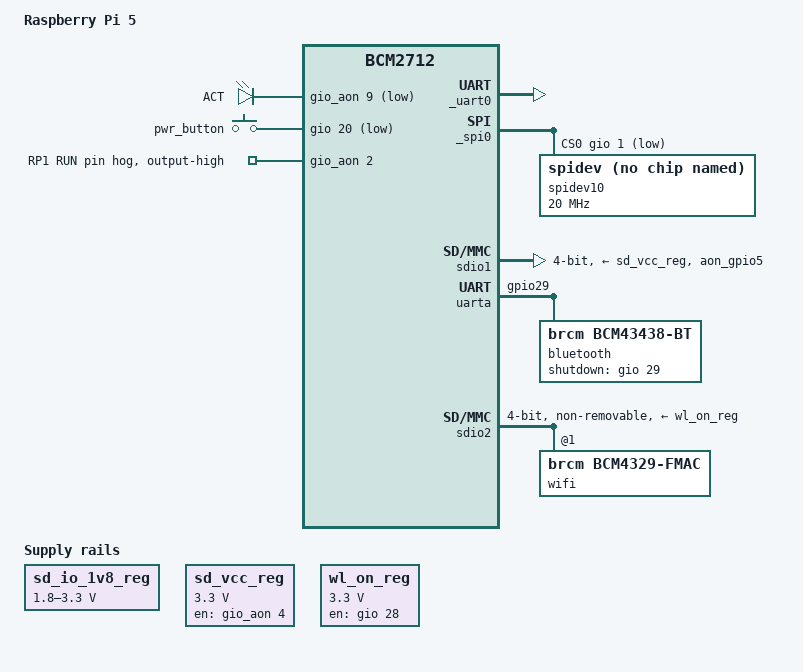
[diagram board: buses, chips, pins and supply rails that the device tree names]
// SPDX-License-Identifier: GPL-2.0
/dts-v1/;

#include <dt-bindings/gpio/gpio.h>
#include <dt-bindings/interrupt-controller/irq.h>
#include <dt-bindings/pwm/pwm.h>
#include <dt-bindings/reset/raspberrypi,firmware-reset.h>

#define i2c0 _i2c0
#define i2c3 _i2c3
#define i2c4 _i2c4
#define i2c5 _i2c5
#define i2c6 _i2c6
#define i2c8 _i2c8
#define i2s _i2s
#define pwm0 _pwm0
#define pwm1 _pwm1
#define spi0 _spi0
#define spi3 _spi3
#define spi4 _spi4
#define spi5 _spi5
#define spi6 _spi6
#define uart0 _uart0
#define uart2 _uart2
#define uart3 _uart3
#define uart4 _uart4
#define uart5 _uart5

#include "bcm2712.dtsi"

#undef i2c0
#undef i2c3
#undef i2c4
#undef i2c5
#undef i2c6
#undef i2c8
#undef i2s
#undef pwm0
#undef pwm1
#undef spi0
#undef spi3
#undef spi4
#undef spi5
#undef spi6
#undef uart0
#undef uart2
#undef uart3
#undef uart4
#undef uart5

/ {
	compatible = "raspberrypi,5-model-b", "brcm,bcm2712";
	model = "Raspberry Pi 5";

	/* Will be filled by the bootloader */
	memory@0 {
		device_type = "memory";
		reg = <0 0 0x28000000>;
	};

	leds: leds {
		compatible = "gpio-leds";

		act_led: led-act {
			label = "ACT";
			gpios = <&gio_aon 9 GPIO_ACTIVE_LOW>;
			default-state = "off";
			linux,default-trigger = "mmc0";
		};
	};

	sd_io_1v8_reg: sd_io_1v8_reg {
		compatible = "regulator-gpio";
		regulator-name = "vdd-sd-io";
		regulator-min-microvolt = <1800000>;
		regulator-max-microvolt = <3300000>;
		regulator-boot-on;
		regulator-always-on;
		regulator-settling-time-us = <5000>;
		gpios = <&gio_aon 3 GPIO_ACTIVE_HIGH>;
		states = <1800000 0x1
			  3300000 0x0>;
		status = "okay";
	};

	sd_vcc_reg: sd_vcc_reg {
		compatible = "regulator-fixed";
		regulator-name = "vcc-sd";
		regulator-min-microvolt = <3300000>;
		regulator-max-microvolt = <3300000>;
		regulator-boot-on;
		enable-active-high;
		gpios = <&gio_aon 4 GPIO_ACTIVE_HIGH>;
		status = "okay";
	};

	wl_on_reg: wl_on_reg {
		compatible = "regulator-fixed";
		regulator-name = "wl-on-regulator";
		regulator-min-microvolt = <3300000>;
		regulator-max-microvolt = <3300000>;
		pinctrl-0 = <&wl_on_pins>;
		pinctrl-names = "default";

		gpio = <&gio 28 GPIO_ACTIVE_HIGH>;

		startup-delay-us = <150000>;
		enable-active-high;
	};

	clocks: clocks {
	};
};

// Add some labels to 2712 device

// The system UART
uart10: &_uart0 { status = "okay"; };

// The system SPI for the bootloader EEPROM
spi10: &_spi0 { status = "okay"; };

#include "bcm2712-rpi.dtsi"

/* SDIO1 is used to drive the SD card */
&sdio1 {
	pinctrl-0 = <&emmc_sd_pulls>, <&emmc_aon_cd_pins>;
	pinctrl-names = "default";
	vqmmc-supply = <&sd_io_1v8_reg>;
	vmmc-supply = <&sd_vcc_reg>;
	bus-width = <4>;
	sd-uhs-sdr50;
	sd-uhs-ddr50;
	sd-uhs-sdr104;
	//broken-cd;
	//no-1-8-v;
	status = "okay";
};

&pinctrl_aon {
	emmc_aon_cd_pins: emmc_aon_cd_pins {
		function = "sd_card_g";
		pins = "aon_gpio5";
		bias-pull-up;
	};

	/* Slight hack - only one PWM pin (status LED) is usable */
	aon_pwm_1pin: aon_pwm_1pin {
		function = "aon_pwm";
		pins = "aon_gpio9";
	};
};

&pinctrl {
	pwr_button_pins: pwr_button_pins {
		function = "gpio";
		pins = "gpio20";
		bias-pull-up;
	};

	wl_on_pins: wl_on_pins {
		function = "gpio";
		pins = "gpio28";
	};

	bt_shutdown_pins: bt_shutdown_pins {
		function = "gpio";
		pins = "gpio29";
	};

	emmc_sd_pulls: emmc_sd_pulls {
		function = "emmc_dat0", "emmc_dat1", "emmc_dat2", "emmc_dat3";
		bias-pull-up;
	};
};

/* uarta communicates with the BT module */
&uarta {
	uart-has-rtscts;
	auto-flow-control;
	status = "okay";
	clock-frequency = <96000000>;
	pinctrl-0 = <&uarta_24_pins &bt_shutdown_pins>;
	pinctrl-names = "default";

	bluetooth: bluetooth {
		compatible = "brcm,bcm43438-bt";
		max-speed = <3000000>;
		shutdown-gpios = <&gio 29 GPIO_ACTIVE_HIGH>;
		local-bd-address = [ 00 00 00 00 00 00 ];
	};
};

/ {
	chosen: chosen {
		bootargs = "coherent_pool=1M 8250.nr_uarts=1 pci=pcie_bus_safe snd_bcm2835.enable_compat_alsa=0 snd_bcm2835.enable_hdmi=1";
		stdout-path = "serial10:115200n8";
	};

	pwr_button {
		compatible = "gpio-keys";

		pinctrl-names = "default";
		pinctrl-0 = <&pwr_button_pins>;
		status = "okay";

		pwr_key: pwr {
			label = "pwr_button";
			// linux,code = <205>; // KEY_SUSPEND
			linux,code = <116>; // KEY_POWER
			gpios = <&gio 20 GPIO_ACTIVE_LOW>;
			debounce-interval = <50>; // ms
		};
	};
};

/* SDIO2 drives the WLAN interface */
&sdio2 {
	pinctrl-0 = <&sdio2_30_pins>;
	pinctrl-names = "default";
	bus-width = <4>;
	vmmc-supply = <&wl_on_reg>;
	sd-uhs-ddr50;
	non-removable;
	status = "okay";
	#address-cells = <1>;
	#size-cells = <0>;

	wifi: wifi@1 {
		reg = <1>;
		compatible = "brcm,bcm4329-fmac";
		local-mac-address = [00 00 00 00 00 00];
	};
};

&pinctrl {
	spi10_gpio2: spi10_gpio2 {
		function = "vc_spi0";
		pins = "gpio2", "gpio3", "gpio4";
		bias-disable;
	};

	spi10_cs_gpio1: spi10_cs_gpio1 {
		function = "gpio";
		pins = "gpio1";
		bias-pull-up;
	};
};

spi10_pins: &spi10_gpio2 {};
spi10_cs_pins: &spi10_cs_gpio1 {};

&spi10 {
	pinctrl-names = "default";
	cs-gpios = <&gio 1 1>;
	pinctrl-0 = <&spi10_pins &spi10_cs_pins>;

	spidev10: spidev@0 {
		compatible = "spidev";
		reg = <0>;	/* CE0 */
		#address-cells = <1>;
		#size-cells = <0>;
		spi-max-frequency = <20000000>;
		status = "okay";
	};
};

// =============================================
// Board specific stuff here

&gio_aon {
	// Don't use GIO_AON as an interrupt controller because it will
	// clash with the firmware monitoring the PMIC interrupt via the VPU.

	/delete-property/ interrupt-controller;
};

&main_aon_irq {
	// Don't use the MAIN_AON_IRQ interrupt controller because it will
	// clash with the firmware monitoring the PMIC interrupt via the VPU.

	status = "disabled";
};
&gio {
	// The GPIOs above 35 are not used on Pi 5, so shrink the upper bank
	// to reduce the clutter in gpioinfo/pinctrl
	brcm,gpio-bank-widths = <32 4>;

	gpio-line-names =
		"-", // GPIO_000
		"2712_BOOT_CS_N", // GPIO_001
		"2712_BOOT_MISO", // GPIO_002
		"2712_BOOT_MOSI", // GPIO_003
		"2712_BOOT_SCLK", // GPIO_004
		"-", // GPIO_005
		"-", // GPIO_006
		"-", // GPIO_007
		"-", // GPIO_008
		"-", // GPIO_009
		"-", // GPIO_010
		"-", // GPIO_011
		"-", // GPIO_012
		"-", // GPIO_013
		"PCIE_SDA", // GPIO_014
		"PCIE_SCL", // GPIO_015
		"-", // GPIO_016
		"-", // GPIO_017
		"-", // GPIO_018
		"-", // GPIO_019
		"PWR_GPIO", // GPIO_020
		"2712_G21_FS", // GPIO_021
		"-", // GPIO_022
		"-", // GPIO_023
		"BT_RTS", // GPIO_024
		"BT_CTS", // GPIO_025
		"BT_TXD", // GPIO_026
		"BT_RXD", // GPIO_027
		"WL_ON", // GPIO_028
		"BT_ON", // GPIO_029
		"WIFI_SDIO_CLK", // GPIO_030
		"WIFI_SDIO_CMD", // GPIO_031
		"WIFI_SDIO_D0", // GPIO_032
		"WIFI_SDIO_D1", // GPIO_033
		"WIFI_SDIO_D2", // GPIO_034
		"WIFI_SDIO_D3"; // GPIO_035
};

&gio_aon {
	gpio-line-names =
		"RP1_SDA", // AON_GPIO_00
		"RP1_SCL", // AON_GPIO_01
		"RP1_RUN", // AON_GPIO_02
		"SD_IOVDD_SEL", // AON_GPIO_03
		"SD_PWR_ON", // AON_GPIO_04
		"SD_CDET_N", // AON_GPIO_05
		"SD_FLG_N", // AON_GPIO_06
		"-", // AON_GPIO_07
		"2712_WAKE", // AON_GPIO_08
		"2712_STAT_LED", // AON_GPIO_09
		"-", // AON_GPIO_10
		"-", // AON_GPIO_11
		"PMIC_INT", // AON_GPIO_12
		"UART_TX_FS", // AON_GPIO_13
		"UART_RX_FS", // AON_GPIO_14
		"-", // AON_GPIO_15
		"-", // AON_GPIO_16

		// Pad bank0 out to 32 entries
		"", "", "", "", "", "", "", "", "", "", "", "", "", "", "",

		"HDMI0_SCL", // AON_SGPIO_00
		"HDMI0_SDA", // AON_SGPIO_01
		"HDMI1_SCL", // AON_SGPIO_02
		"HDMI1_SDA", // AON_SGPIO_03
		"PMIC_SCL", // AON_SGPIO_04
		"PMIC_SDA"; // AON_SGPIO_05

	rp1_run_hog {
		gpio-hog;
		gpios = <2 GPIO_ACTIVE_HIGH>;
		output-high;
		line-name = "RP1 RUN pin";
	};
};

/ {
	aliases: aliases {
		blconfig = &blconfig;
		bluetooth = &bluetooth;
		console = &uart10;
		wifi0 = &wifi;
		fb = &fb;
		mailbox = &mailbox;
		mmc0 = &sdio1;
	};
/*
	__overrides__ {
		bdaddr = <&bluetooth>, "local-bd-address[";
		button_debounce = <&pwr_key>, "debounce-interval:0";
		cooling_fan = <&fan>, "status", <&rp1_pwm1>, "status";
		uart0_console = <&uart0>,"status", <&aliases>, "console=",&uart0;
		i2c0 = <&i2c0>, "status";
		i2c1 = <&i2c1>, "status";
		i2c = <&i2c1>, "status";
		i2c_arm = <&i2c_arm>, "status";
		i2c_vc = <&i2c_vc>, "status";
		i2c_csi_dsi = <&i2c_csi_dsi>, "status";
		i2c_csi_dsi0 = <&i2c_csi_dsi0>, "status";
		i2c_csi_dsi1 = <&i2c_csi_dsi1>, "status";
		i2c0_baudrate = <&i2c0>, "clock-frequency:0";
		i2c1_baudrate = <&i2c1>, "clock-frequency:0";
		i2c_baudrate = <&i2c_arm>, "clock-frequency:0";
		i2c_arm_baudrate = <&i2c_arm>, "clock-frequency:0";
		i2c_vc_baudrate = <&i2c_vc>, "clock-frequency:0";
		krnbt = <&bluetooth>, "status";
		nvme = <&pciex1>, "status";
		pciex1 = <&pciex1>, "status";
		pciex1_gen = <&pciex1> , "max-link-speed:0";
		pciex1_no_l0s = <&pciex1>, "aspm-no-l0s?";
		pciex1_tperst_clk_ms = <&pciex1>, "brcm,tperst-clk-ms:0";
		pcie_tperst_clk_ms = <&pciex1>, "brcm,tperst-clk-ms:0";
		random = <&random>, "status";
		rtc_bbat_vchg = <&rpi_rtc>, "trickle-charge-microvolt:0";
		spi = <&spi0>, "status";
		suspend = <&pwr_key>, "linux,code:0=205";
		uart0 = <&uart0>, "status";
		wifiaddr = <&wifi>, "local-mac-address[";

		act_led_activelow = <&act_led>, "active-low?";
		act_led_trigger = <&act_led>, "linux,default-trigger";
		pwr_led_activelow = <&pwr_led>, "gpios:8";
		pwr_led_trigger = <&pwr_led>, "linux,default-trigger";
		drm_fb0_rp1_dsi0 = <&aliases>, "drm-fb0=",&dsi0;
		drm_fb0_rp1_dsi1 = <&aliases>, "drm-fb0=",&dsi1;
		drm_fb0_rp1_dpi = <&aliases>, "drm-fb0=",&dpi;
		drm_fb0_vc4 = <&aliases>, "drm-fb0=",&vc4;
		drm_fb1_rp1_dsi0 = <&aliases>, "drm-fb1=",&dsi0;
		drm_fb1_rp1_dsi1 = <&aliases>, "drm-fb1=",&dsi1;
		drm_fb1_rp1_dpi = <&aliases>, "drm-fb1=",&dpi;
		drm_fb1_vc4 = <&aliases>, "drm-fb1=",&vc4;
		drm_fb2_rp1_dsi0 = <&aliases>, "drm-fb2=",&dsi0;
		drm_fb2_rp1_dsi1 = <&aliases>, "drm-fb2=",&dsi1;
		drm_fb2_rp1_dpi = <&aliases>, "drm-fb2=",&dpi;
		drm_fb2_vc4 = <&aliases>, "drm-fb2=",&vc4;
	};
*/
};
